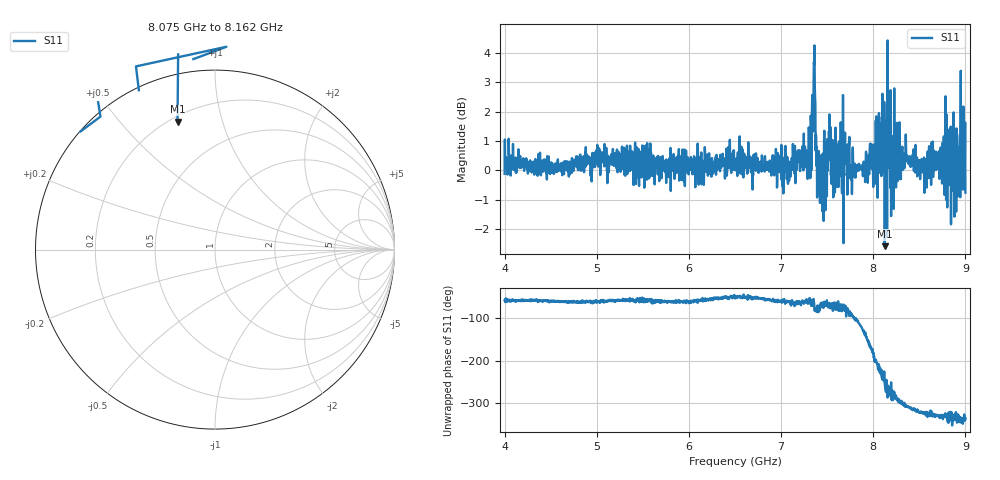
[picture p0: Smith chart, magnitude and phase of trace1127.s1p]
! Created with skrf 1.8.0 (http://scikit-rf.org).
# Hz S RI R 50.0
!freq ReS11 ImS11
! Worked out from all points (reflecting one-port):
!   1601 points, 4 GHz to 9 GHz, reference 50 ohm
!   lowest |S11| = -2.6 dB at 8.125 GHz (marker M1), VSWR 6.79, Z = 11.4 + j36.2 ohm
!   phase of S11 starts at -57 deg and turns -278 deg over the sweep
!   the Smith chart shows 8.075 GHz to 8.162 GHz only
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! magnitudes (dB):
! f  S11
! 4 GHz  -0.1
! 4.625 GHz  -0.2
! 5.25 GHz  0.1
! 5.875 GHz  0.1
! 6.5 GHz  0.3
! 7.125 GHz  0.1
! 7.294 GHz  0.1
! 7.328 GHz  0.0
! 7.347 GHz  1.3
! 7.375 GHz  0.7
! 7.4 GHz  -0.6
! 7.425 GHz  -0.6
! 7.525 GHz  1.9
! 7.581 GHz  0.0
! 7.65 GHz  1.3
! 7.75 GHz  0.1
! 8.022 GHz  -0.4
! 8.097 GHz  1.5
! 8.125 GHz  -2.6
! 8.178 GHz  2.6
! 8.197 GHz  -0.1
! 8.375 GHz  0.3
! 8.556 GHz  -0.8
! 8.775 GHz  0.7
! 8.856 GHz  -0.3
! 8.956 GHz  0.2
! 8.972 GHz  0.5
! 9 GHz  -0.8
